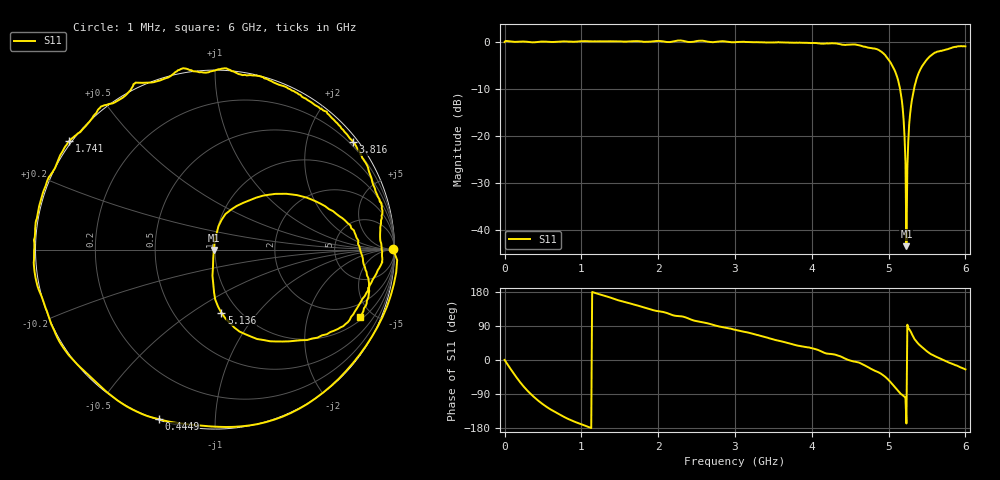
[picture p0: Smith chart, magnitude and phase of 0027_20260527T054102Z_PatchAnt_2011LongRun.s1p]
# Hz S RI R 50
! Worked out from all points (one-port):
!   501 points, 1 MHz to 6 GHz, reference 50 ohm
!   lowest |S11| = -43.5 dB at 5.232 GHz (marker M1), VSWR 1.01, Z = 49.3 - j0.143 ohm
!   |S11| at or under -10 dB: 5.149 GHz to 5.332 GHz (183 MHz wide, 3.49 % of centre)
!   S11 on the Smith chart (normalised r, x): 1 MHz: open; 444.9 MHz: 0.00, -0.72; 1.741 GHz: -0.01, +0.33; 3.816 GHz: 0.13, +2.90; 5.136 GHz: 0.83, -0.67; 6 GHz: 1.18, -4.24
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1000000  0.9917 0.00355
8.4986e7  0.9056 -0.431
2.16964e8  0.4681 -0.8871
3.0095e8  0.146 -0.9848
4.44926e8  -0.3137 -0.9448
7.56874e8  -0.8556 -0.5306
1.056824e9  -1.007 -0.1068
1.50075e9  -0.9252 0.4048
1.74071e9  -0.8111 0.6056
2.256624e9  -0.4506 0.9238
3.0005e9  0.176 0.9705
3.756374e9  0.7365 0.6404
3.816364e9  0.7679 0.5985
4.308282e9  0.929 0.2309
4.50025e9  0.9305 -0.0212
4.86019e9  0.6995 -0.4333
5.028162e9  0.3069 -0.5107
5.136144e9  0.0357 -0.3515
5.184136e9  -0.0096 -0.1943
5.196134e9  -0.0141 -0.1459
5.208132e9  -0.0113 -0.0957
5.232128e9  -0.00655 -0.00145
5.256124e9  0.00786 0.0866
5.268122e9  0.0196 0.1311
5.292118e9  0.0583 0.1982
5.412098e9  0.3977 0.3109
5.628062e9  0.7741 0.1067
6e9  0.8084 -0.3728
